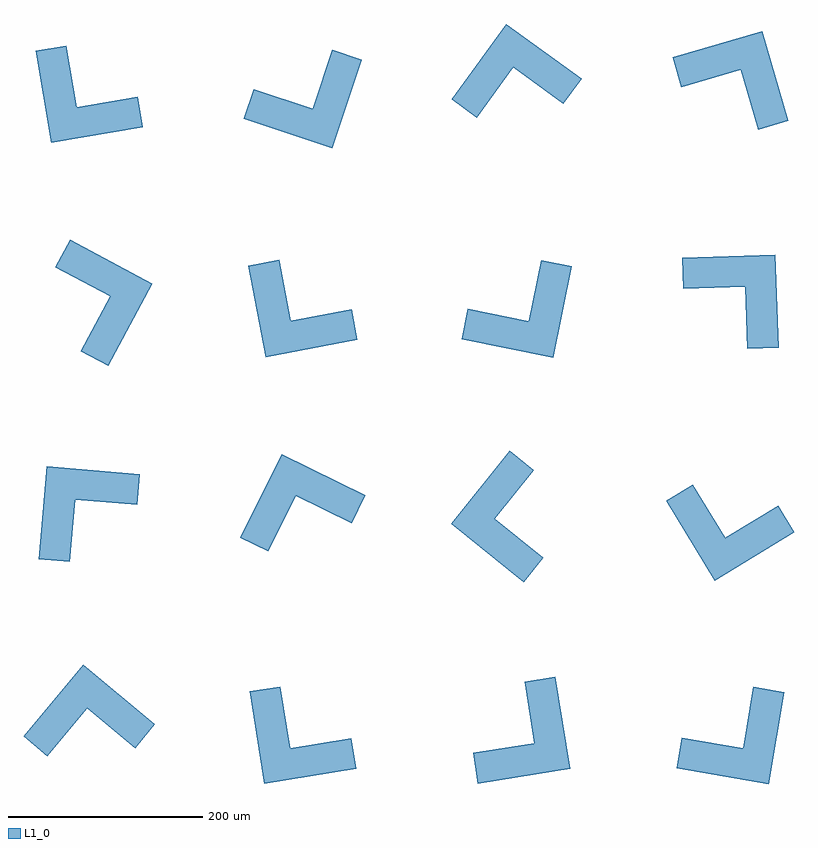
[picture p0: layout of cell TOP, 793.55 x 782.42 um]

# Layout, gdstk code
import gdstk
lib = gdstk.Library(unit=1e-6, precision=1e-09)
def P(c, l, *ps):  # polygons
    for p in ps: c.add(gdstk.Polygon(p, *l))
L1_0 = (1, 0)

top = lib.new_cell('TOP')
P(top, L1_0, [(143.855,217.604),(82.396,143.855),(106.979,123.369),(147.952,172.535),(197.117,131.562),(217.604,156.145)],
  [(330.104,95.079),(424.921,110.104),(419.913,141.709),(356.701,131.693),(346.685,194.905),(315.079,189.896)],
  [(644.925,110.11),(629.89,204.925),(598.285,199.914),(608.308,136.703),(545.098,126.68),(550.11,95.075)],
  [(849.28,94.637),(865.363,189.28),(833.815,194.641),(823.093,131.546),(759.998,142.267),(754.637,110.72)],
  [(106.249,421.902),(98.098,326.249),(129.982,323.532),(135.416,387.301),(199.185,381.867),(201.902,413.751)],
  [(348.335,434.332),(305.668,348.335),(334.334,334.113),(362.778,391.444),(420.11,362.999),(434.332,391.665)],
  [(522.513,362.687),(597.313,302.513),(617.371,327.446),(567.504,367.562),(607.62,417.429),(582.687,437.487)],
  [(793.921,304.05),(875.95,353.921),(859.327,381.264),(804.64,348.017),(771.393,402.703),(744.05,386.079)],
  [(214.953,609.724),(130.276,654.953),(115.199,626.728),(171.651,596.575),(141.498,540.123),(169.724,525.047)],
  [(331.773,533.905),(426.095,551.773),(420.139,583.214),(357.258,571.302),(345.345,634.183),(313.905,628.227)],
  [(627.674,533.531),(646.469,627.674),(615.088,633.939),(602.558,571.177),(539.796,583.707),(533.531,552.326)],
  [(856.358,639.588),(760.412,636.358),(761.489,604.376),(825.453,606.529),(827.606,542.565),(859.588,543.642)],
  [(110.632,754.7),(205.3,770.632),(199.99,802.188),(136.877,791.567),(126.256,854.679),(94.7,849.368)],
  [(400.375,749.293),(430.707,840.375),(400.346,850.486),(380.125,789.764),(319.404,809.985),(309.293,779.625)],
  [(579.43,877.054),(522.946,799.43),(548.821,780.602),(586.477,832.351),(638.226,794.696),(657.054,820.57)],
  [(842.724,869.474),(750.526,842.724),(759.443,811.992),(820.908,829.825),(838.741,768.359),(869.474,777.276)])

lib.write_gds('TOP.gds')
